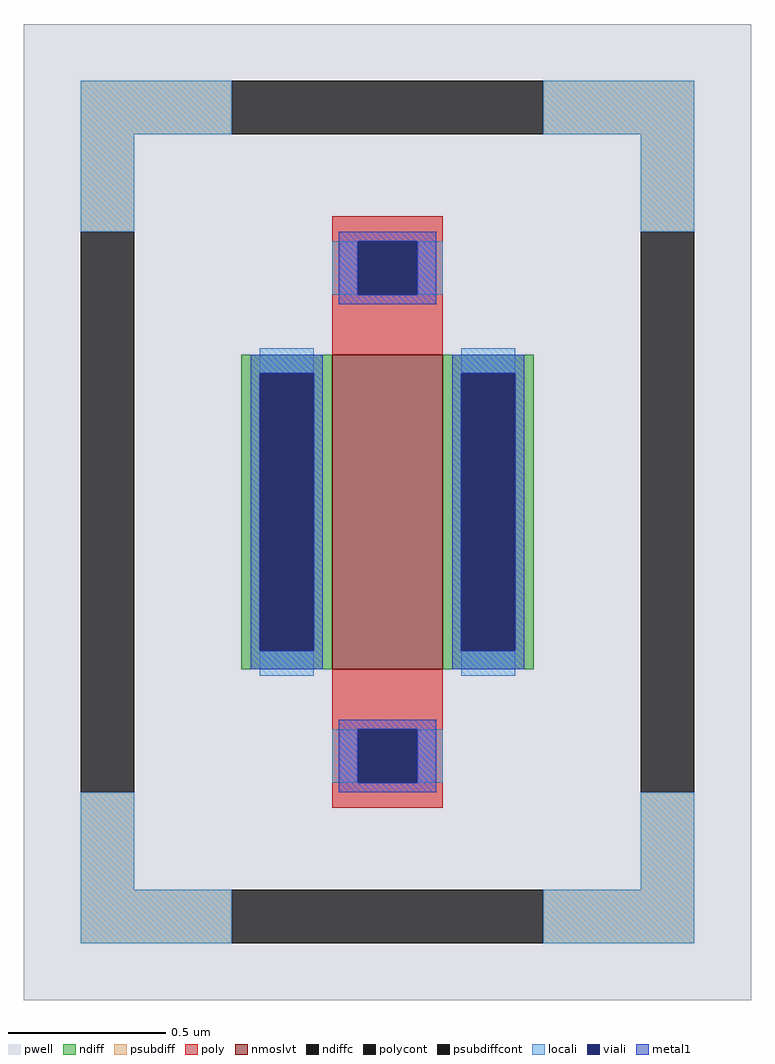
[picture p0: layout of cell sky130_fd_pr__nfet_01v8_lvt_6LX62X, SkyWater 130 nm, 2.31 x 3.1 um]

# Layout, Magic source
magic
tech sky130A
magscale 1 2
<< pwell >>
rect -231 -310 231 310
<< nmoslvt >>
rect -35 -100 35 100
<< ndiff >>
rect -93 88 -35 100
rect -93 -88 -81 88
rect -47 -88 -35 88
rect -93 -100 -35 -88
rect 35 88 93 100
rect 35 -88 47 88
rect 81 -88 93 88
rect 35 -100 93 -88
<< ndiffc >>
rect -81 -88 -47 88
rect 47 -88 81 88
<< psubdiff >>
rect -195 240 -99 274
rect 99 240 195 274
rect -195 178 -161 240
rect 161 178 195 240
rect -195 -240 -161 -178
rect 161 -240 195 -178
rect -195 -274 -99 -240
rect 99 -274 195 -240
<< psubdiffcont >>
rect -99 240 99 274
rect -195 -178 -161 178
rect 161 -178 195 178
rect -99 -274 99 -240
<< poly >>
rect -35 172 35 188
rect -35 138 -19 172
rect 19 138 35 172
rect -35 100 35 138
rect -35 -138 35 -100
rect -35 -172 -19 -138
rect 19 -172 35 -138
rect -35 -188 35 -172
<< polycont >>
rect -19 138 19 172
rect -19 -172 19 -138
<< locali >>
rect -195 240 -99 274
rect 99 240 195 274
rect -195 178 -161 240
rect 161 178 195 240
rect -35 138 -19 172
rect 19 138 35 172
rect -81 88 -47 104
rect -81 -104 -47 -88
rect 47 88 81 104
rect 47 -104 81 -88
rect -35 -172 -19 -138
rect 19 -172 35 -138
rect -195 -240 -161 -178
rect 161 -240 195 -178
rect -195 -274 -99 -240
rect 99 -274 195 -240
<< viali >>
rect -19 138 19 172
rect -81 -88 -47 88
rect 47 -88 81 88
rect -19 -172 19 -138
<< metal1 >>
rect -31 172 31 178
rect -31 138 -19 172
rect 19 138 31 172
rect -31 132 31 138
rect -87 88 -41 100
rect -87 -88 -81 88
rect -47 -88 -41 88
rect -87 -100 -41 -88
rect 41 88 87 100
rect 41 -88 47 88
rect 81 -88 87 88
rect 41 -100 87 -88
rect -31 -138 31 -132
rect -31 -172 -19 -138
rect 19 -172 31 -138
rect -31 -178 31 -172
<< properties >>
string FIXED_BBOX -178 -257 178 257
string gencell sky130_fd_pr__nfet_01v8_lvt
string library sky130
string parameters w 1.0 l 0.35 m 1 nf 1 diffcov 100 polycov 100 guard 1 glc 1 grc 1 gtc 1 gbc 1 tbcov 100 rlcov 100 topc 1 botc 1 poverlap 0 doverlap 1 lmin 0.15 wmin 0.42 compatible {sky130_fd_pr__nfet_01v8 sky130_fd_pr__nfet_01v8_lvt  sky130_fd_bs_flash__special_sonosfet_star  sky130_fd_pr__nfet_g5v0d10v5 sky130_fd_pr__nfet_05v0_nvt  sky130_fd_pr__nfet_03v3_nvt} full_metal 1 viasrc 100 viadrn 100 viagate 100 viagb 0 viagr 0 viagl 0 viagt 0
<< end >>
